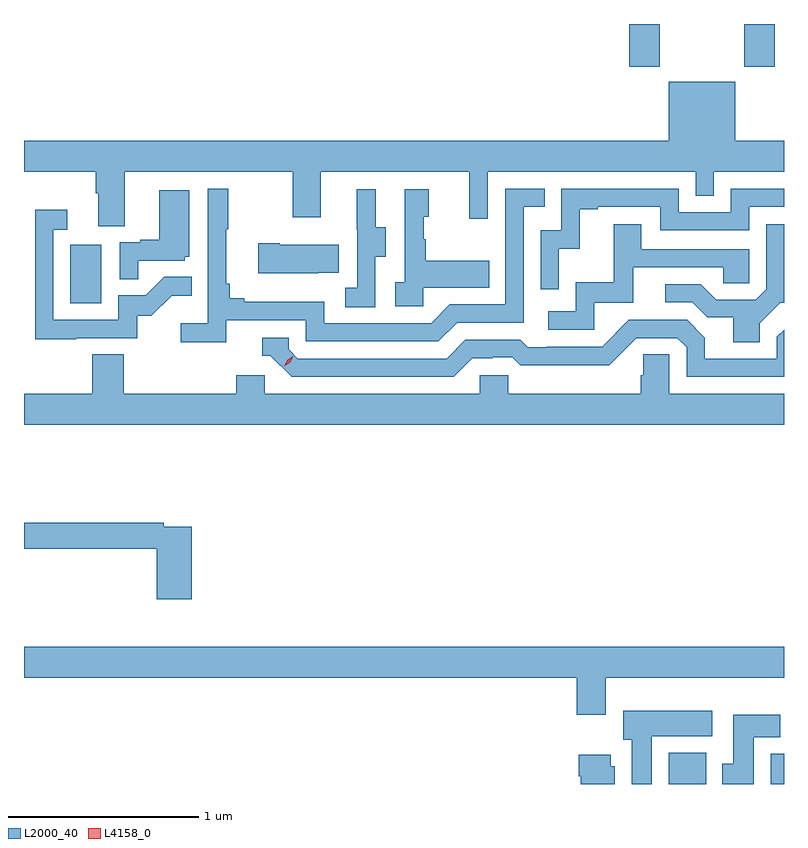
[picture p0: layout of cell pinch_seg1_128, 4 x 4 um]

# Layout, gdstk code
import gdstk
lib = gdstk.Library(unit=1e-6, precision=1e-09)
def R(c, l, rs):  # rectangles x0, y0, x1, y1
    for r in rs: c.add(gdstk.rectangle(r[:2], r[2:], *l))
def P(c, l, *ps):  # polygons
    for p in ps: c.add(gdstk.Polygon(p, *l))
L2000_40 = (2000, 40)
L4158_0 = (4158, 0)

pinch_seg1_128 = lib.new_cell('pinch_seg1_128')
R(pinch_seg1_128, L2000_40, [(1061.798,549.842,1061.995,550.006), (1062.335,549.842,1062.405,550), (1058.648,552.372,1058.812,552.679), (1061.591,553.617,1061.751,553.842), (1062.196,553.617,1062.356,553.842)])
P(pinch_seg1_128, L2000_40, [(1058.935,553.064),(1059.82,553.064),(1059.82,552.825),(1059.967,552.825),(1059.967,553.064),(1060.748,553.064),(1060.748,552.816),(1060.845,552.816),(1060.845,553.064),(1061.94,553.064),(1061.94,552.937),(1062.036,552.937),(1062.036,553.064),(1062.405,553.064),(1062.405,553.228),(1062.148,553.228),(1062.148,553.537),(1061.798,553.537),(1061.798,553.228),(1058.405,553.228),(1058.405,553.064),(1058.783,553.064),(1058.783,552.952),(1058.795,552.952),(1058.795,552.778),(1058.935,552.778)],
  [(1059.47,552.282),(1059.888,552.282),(1059.888,552.171),(1060.585,552.171),(1060.684,552.27),(1061.034,552.27),(1061.034,552.879),(1061.147,552.879),(1061.147,552.975),(1060.938,552.975),(1060.938,552.366),(1060.647,552.366),(1060.548,552.267),(1059.984,552.267),(1059.984,552.379),(1059.565,552.379),(1059.565,552.398),(1059.488,552.398),(1059.488,552.475),(1059.469,552.475),(1059.469,552.763),(1059.481,552.763),(1059.481,552.976),(1059.372,552.976),(1059.372,552.268),(1059.231,552.268),(1059.231,552.166),(1059.47,552.166)],
  [(1061.22,552.659),(1061.33,552.659),(1061.33,552.867),(1061.425,552.867),(1061.425,552.879),(1061.754,552.879),(1061.754,552.756),(1062.222,552.756),(1062.222,552.879),(1062.405,552.879),(1062.405,552.975),(1062.126,552.975),(1062.126,552.852),(1061.85,552.852),(1061.85,552.975),(1061.232,552.975),(1061.232,552.756),(1061.124,552.756),(1061.124,552.447),(1061.22,552.447)],
  [(1060.506,552.455),(1060.853,552.455),(1060.853,552.595),(1060.519,552.595),(1060.519,552.71),(1060.509,552.71),(1060.509,552.828),(1060.534,552.828),(1060.534,552.973),(1060.41,552.973),(1060.41,552.482),(1060.359,552.482),(1060.359,552.357),(1060.506,552.357)],
  [(1060.254,552.616),(1060.309,552.616),(1060.309,552.771),(1060.255,552.771),(1060.255,552.973),(1060.157,552.973),(1060.157,552.759),(1060.158,552.759),(1060.158,552.455),(1060.095,552.455),(1060.095,552.352),(1060.254,552.352)],
  [(1059.005,552.597),(1059.252,552.597),(1059.252,552.618),(1059.274,552.618),(1059.274,552.967),(1059.116,552.967),(1059.116,552.706),(1059.017,552.706),(1059.017,552.693),(1058.91,552.693),(1058.91,552.499),(1059.005,552.499)],
  [(1058.681,552.189),(1059,552.189),(1059,552.306),(1059.076,552.306),(1059.183,552.413),(1059.287,552.413),(1059.287,552.512),(1059.143,552.512),(1059.045,552.414),(1058.901,552.414),(1058.901,552.285),(1058.559,552.285),(1058.559,552.759),(1058.632,552.759),(1058.632,552.865),(1058.463,552.865),(1058.463,552.184),(1058.681,552.184)],
  [(1061.406,552.375),(1061.611,552.375),(1061.611,552.561),(1062.085,552.561),(1062.085,552.477),(1062.222,552.477),(1062.222,552.657),(1061.653,552.657),(1061.653,552.787),(1061.509,552.787),(1061.509,552.484),(1061.31,552.484),(1061.31,552.33),(1061.163,552.33),(1061.163,552.234),(1061.406,552.234)],
  [(1062.277,552.268),(1062.384,552.375),(1062.405,552.375),(1062.405,552.787),(1062.312,552.787),(1062.312,552.447),(1062.255,552.39),(1062.049,552.39),(1061.968,552.471),(1061.781,552.471),(1061.781,552.378),(1061.922,552.378),(1062.002,552.298),(1062.137,552.298),(1062.137,552.166),(1062.277,552.166)],
  [(1059.953,552.533),(1060.061,552.533),(1060.061,552.679),(1059.751,552.679),(1059.751,552.687),(1059.639,552.687),(1059.639,552.53),(1059.953,552.53)],
  [(1060.765,552.084),(1060.872,552.084),(1060.872,552.087),(1060.975,552.087),(1061.017,552.045),(1061.25,552.045),(1061.25,552.047),(1061.486,552.047),(1061.628,552.189),(1061.844,552.189),(1061.892,552.141),(1061.892,551.985),(1062.405,551.985),(1062.405,552.234),(1062.366,552.195),(1062.366,552.081),(1061.989,552.081),(1061.989,552.191),(1061.895,552.285),(1061.589,552.285),(1061.448,552.144),(1061.155,552.144),(1061.155,552.141),(1061.056,552.141),(1061.017,552.18),(1060.728,552.18),(1060.629,552.081),(1059.846,552.081),(1059.798,552.129),(1059.798,552.192),(1059.659,552.192),(1059.659,552.096),(1059.702,552.096),(1059.813,551.985),(1060.666,551.985)],
  [(1062.405,551.896),(1061.802,551.896),(1061.802,552.104),(1061.665,552.104),(1061.665,551.994),(1061.651,551.994),(1061.651,551.896),(1060.953,551.896),(1060.953,551.994),(1060.803,551.994),(1060.803,551.896),(1059.672,551.896),(1059.672,551.994),(1059.521,551.994),(1059.521,551.896),(1058.93,551.896),(1058.93,552.104),(1058.765,552.104),(1058.765,551.896),(1058.405,551.896),(1058.405,551.732),(1062.405,551.732)],
  [(1059.287,551.196),(1059.14,551.196),(1059.14,551.216),(1058.405,551.216),(1058.405,551.08),(1059.104,551.08),(1059.104,550.815),(1059.287,550.815)],
  [(1061.467,550.4),(1062.405,550.4),(1062.405,550.564),(1058.405,550.564),(1058.405,550.4),(1061.315,550.4),(1061.315,550.206),(1061.467,550.206)],
  [(1061.71,550.094),(1062.028,550.094),(1062.028,550.228),(1061.558,550.228),(1061.558,550.074),(1061.603,550.074),(1061.603,549.842),(1061.71,549.842)],
  [(1062.247,550.088),(1062.386,550.088),(1062.386,550.207),(1062.137,550.207),(1062.137,549.948),(1062.08,549.948),(1062.08,549.842),(1062.247,549.842)],
  [(1061.515,549.936),(1061.494,549.936),(1061.494,549.997),(1061.324,549.997),(1061.324,549.884),(1061.336,549.884),(1061.336,549.842),(1061.515,549.842)])
P(pinch_seg1_128, L4158_0, [(1059.776,552.042),(1059.776,552.042),(1059.792,552.075),(1059.823,552.094),(1059.823,552.094),(1059.823,552.094),(1059.807,552.061),(1059.776,552.042)])

lib.write_gds('pinch_seg1_128.gds')
